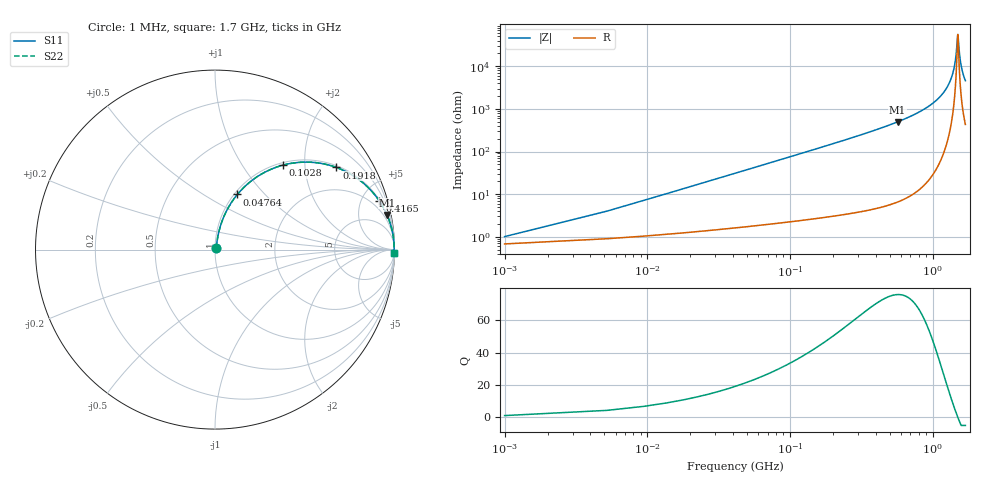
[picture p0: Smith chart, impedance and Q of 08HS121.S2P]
! Coilcraft 0805HS-121 Chip Inductor
! 13 June 2002
# MHZ S MA R 50
!Freq  MagS11  AngS11  MagS21  AngS21  MagS12  AngS12  MagS22  AngS22
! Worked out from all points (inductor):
!   402 points, 1 MHz to 1.7 GHz, reference 50 ohm
!   read as one part in series: L = 119 nH near 9.48 MHz
!   highest Q = 75.9 at 569.2 MHz (marker M1), where L = 139 nH
!   self-resonance near 1.502 GHz
!   S11 on the Smith chart (normalised r, x): 1 MHz: 1.01, +0.01; 47.64 MHz: 1.03, +0.71; 102.8 MHz: 1.05, +1.54; 191.8 MHz: 1.06, +2.92; 416.5 MHz: 1.09, +6.75; 1.7 GHz: 10, -91
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1  0.01005 47.2  0.9932 -0.4  0.9932 -0.4  0.01005 47.2
13.72  0.1015 77.8  0.9836 -5.8  0.9836 -5.8  0.1015 77.8
17.96  0.1321 77.2  0.9792 -7.6  0.9792 -7.6  0.1321 77.2
30.68  0.2211 73.6  0.9613 -12.7  0.9613 -12.7  0.2211 73.6
47.64  0.3312 68.0  0.9279 -19.3  0.9279 -19.3  0.3312 68.0
73.08  0.4734 59.7  0.8638 -28.2  0.8638 -28.2  0.4734 59.7
102.76  0.6027 51.3  0.7804 -37.0  0.7804 -37.0  0.6027 51.3
191.8  0.8169 34.1  0.5603 -54.8  0.5603 -54.8  0.8169 34.1
285.08  0.9055 24.2  0.4095 -64.9  0.4095 -64.9  0.9055 24.2
416.52  0.9551 16.4  0.2832 -72.7  0.2832 -72.7  0.9551 16.4
569.16  0.9778 11.4  0.1969 -77.9  0.1969 -77.9  0.9778 11.4
853.24  0.9927 6.1  0.1056 -83.0  0.1056 -83.0  0.9927 6.1
1137.32  0.9972 2.9  0.05031 -85.4  0.05031 -85.4  0.9972 2.9
1311.16  0.9981 1.4  0.02458 -84.8  0.02458 -84.8  0.9981 1.4
1417.16  0.9982 0.6  0.0108 -80.4  0.0108 -80.4  0.9982 0.6
1455.32  0.9982 0.3  0.006196 -73.4  0.006196 -73.4  0.9982 0.3
1497.72  0.9982 0.0  0.001973 -25.6  0.001973 -25.6  0.9982 0.0
1506.2  0.9982 -0.0  0.001795 4.7  0.001795 4.7  0.9982 -0.0
1548.6  0.9981 -0.3  0.005396 69.8  0.005396 69.8  0.9981 -0.3
1578.28  0.9981 -0.5  0.008648 77.0  0.008648 77.0  0.9981 -0.5
1629.16  0.998 -0.8  0.01421 81.3  0.01421 81.3  0.998 -0.8
1700  0.9977 -1.2  0.02176 83.4  0.02176 83.4  0.9977 -1.2
